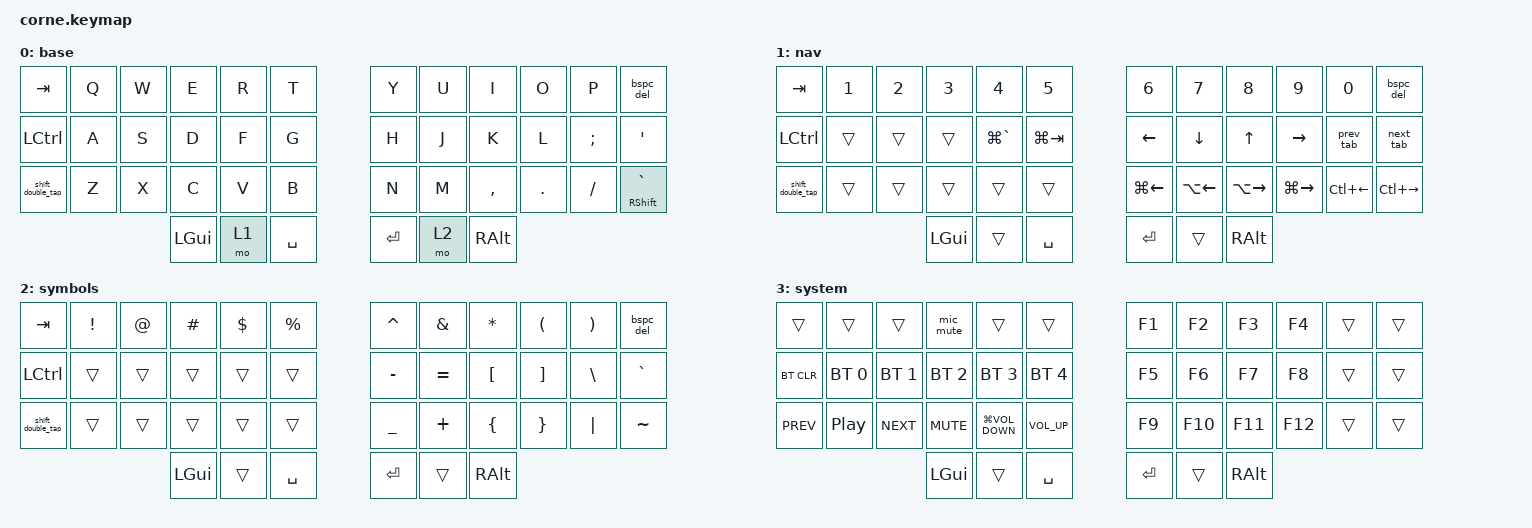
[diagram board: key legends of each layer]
/*
 * Copyright (c) 2020 The ZMK Contributors
 *
 * SPDX-License-Identifier: MIT
 */

#include <behaviors.dtsi>
#include <dt-bindings/zmk/bt.h>
#include <dt-bindings/zmk/keys.h>

/ {
    macros {
        next_tab: next_tab {
            compatible = "zmk,behavior-macro";
            #binding-cells = <0>;
            bindings =
                <&macro_press>,
                <&kp LEFT_GUI &kp LEFT_SHIFT>,
                <&macro_tap>,
                <&kp RIGHT_BRACKET>,
                <&macro_release>,
                <&kp LEFT_GUI &kp LEFT_SHIFT>;

            label = "NEXT_TAB";
        };

        prev_tab: prev_tab {
            compatible = "zmk,behavior-macro";
            #binding-cells = <0>;
            bindings =
                <&macro_press>,
                <&kp LEFT_GUI &kp LEFT_SHIFT>,
                <&macro_tap>,
                <&kp LEFT_BRACKET>,
                <&macro_release>,
                <&kp LEFT_GUI &kp LEFT_SHIFT>;

            label = "PREV_TAB";
        };

        mic_mute: mic_mute {
            compatible = "zmk,behavior-macro";
            #binding-cells = <0>;
            bindings =
                <&macro_press>,
                <&kp LGUI &kp LSHIFT>,
                <&macro_tap>,
                <&kp M>,
                <&macro_tap>,
                <&kp SPACE>,
                <&macro_release>,
                <&kp LEFT_COMMAND &kp LSHIFT>;

            label = "MIC_MUTE";
        };
    };

    combos { compatible = "zmk,combos"; };

    keymap {
        compatible = "zmk,keymap";

        default_layer {
            display-name = "base";

            // -----------------------------------------------------------------------------------------
            // |  TAB |  Q  |  W  |  E  |  R  |  T  |   |  Y  |  U   |  I  |  O  |  P  | BSPC |
            // | CTRL |  A  |  S  |  D  |  F  |  G  |   |  H  |  J   |  K  |  L  |  ;  |  '   |
            // | SHFT |  Z  |  X  |  C  |  V  |  B  |   |  N  |  M   |  ,  |  .  |  /  | ESC  |
            //                    | GUI | LWR | SPC |   | ENT | RSE  | ALT |

            bindings = <
&kp TAB            &kp Q  &kp W  &kp E     &kp R  &kp T        &kp Y    &kp U  &kp I      &kp O    &kp P     &bspc_del
&kp LCTRL          &kp A  &kp S  &kp D     &kp F  &kp G        &kp H    &kp J  &kp K      &kp L    &kp SEMI  &kp SQT
&shift_double_tap  &kp Z  &kp X  &kp C     &kp V  &kp B        &kp N    &kp M  &kp COMMA  &kp DOT  &kp FSLH  &hold_else_gresc RIGHT_SHIFT GRAVE
                                 &kp LGUI  &mo 1  &kp SPACE    &kp RET  &mo 2  &kp RALT
            >;
        };

        lower_layer {
            display-name = "nav";

            // -----------------------------------------------------------------------------------------
            // |  TAB |  1  |  2  |  3  |  4  |  5  |   |  6  |  7  |  8  |  9  |  0  | BSPC |
            // | BTCLR| BT1 | BT2 | BT3 | BT4 | BT5 |   | LFT | DWN |  UP | RGT |     |      |
            // | C_PREV | C_PLAY_PAUSE | C_NEXT | C_VOL_DN | C_VOL_UP | C_MUTE |   |     |     |     |     |     |      |
            //                    | GUI |     | SPC |   | ENT |     | ALT |

            bindings = <
&kp TAB            &kp N1  &kp N2  &kp N3    &kp N4         &kp N5         &kp N6              &kp N7              &kp N8               &kp N9               &kp N0              &bspc_del
&kp LCTRL          &trans  &trans  &trans    &kp LG(GRAVE)  &kp LG(TAB)    &kp LEFT            &kp DOWN            &kp UP               &kp RIGHT            &prev_tab           &next_tab
&shift_double_tap  &trans  &trans  &trans    &trans         &trans         &kp LG(LEFT_ARROW)  &kp LA(LEFT_ARROW)  &kp LA(RIGHT_ARROW)  &kp LG(RIGHT_ARROW)  &kp LC(LEFT_ARROW)  &kp LC(RIGHT_ARROW)
                                   &kp LGUI  &trans         &kp SPACE      &kp RET             &trans              &kp RALT
            >;
        };

        raise_layer {
            display-name = "symbols";

            // -----------------------------------------------------------------------------------------
            // |  TAB |  !  |  @  |  #  |  $  |  %  |   |  ^  |  &  |  *  |  (  |  )  | BSPC |
            // | CTRL |     |     |     |     |     |   |  -  |  =  |  [  |  ]  |  \  |  `   |
            // | SHFT |     |     |     |     |     |   |  _  |  +  |  {  |  }  | "|" |  ~   |
            //                    | GUI |     | SPC |   | ENT |     | ALT |

            bindings = <
&kp TAB            &kp EXCL  &kp AT  &kp HASH  &kp DLLR  &kp PRCNT    &kp CARET  &kp AMPS   &kp ASTRK  &kp LPAR  &kp RPAR  &bspc_del
&kp LCTRL          &trans    &trans  &trans    &trans    &trans       &kp MINUS  &kp EQUAL  &kp LBKT   &kp RBKT  &kp BSLH  &kp GRAVE
&shift_double_tap  &trans    &trans  &trans    &trans    &trans       &kp UNDER  &kp PLUS   &kp LBRC   &kp RBRC  &kp PIPE  &kp TILDE
                                     &kp LGUI  &trans    &kp SPACE    &kp RET    &trans     &kp RALT
            >;
        };

        system_layer {
            display-name = "system";
            bindings = <
&trans      &trans            &trans        &mic_mute     &trans                 &trans             &kp F1   &kp F2   &kp F3    &kp F4   &trans  &trans
&bt BT_CLR  &bt BT_SEL 0      &bt BT_SEL 1  &bt BT_SEL 2  &bt BT_SEL 3           &bt BT_SEL 4       &kp F5   &kp F6   &kp F7    &kp F8   &trans  &trans
&kp C_PREV  &kp C_PLAY_PAUSE  &kp C_NEXT    &kp C_MUTE    &kp LG(C_VOLUME_DOWN)  &kp C_VOLUME_UP    &kp F9   &kp F10  &kp F11   &kp F12  &trans  &trans
                                            &kp LGUI      &trans                 &kp SPACE          &kp RET  &trans   &kp RALT
            >;
        };
    };

    behaviors {
        bspc_del: backspace_delete {
            compatible = "zmk,behavior-mod-morph";
            #binding-cells = <0>;
            bindings = <&kp BACKSPACE>, <&kp DELETE>;

            mods = <(MOD_LSFT|MOD_LCTL)>;
        };

        caps_word: caps_word {
            compatible = "zmk,behavior-caps-word";
            label = "CAPS_WORD";
            #binding-cells = <0>;
            continue-list = <UNDERSCORE BACKSPACE DELETE>;
            mods = <(MOD_LSFT)>;
        };

        shift_double_tap: shift_double_tap {
            compatible = "zmk,behavior-tap-dance";
            label = "SHIFT_DOUBLE_TAP";
            #binding-cells = <0>;
            bindings = <&kp LSHIFT>, <&caps_word>;
        };

        grave_escape: grave_escape {
            compatible = "zmk,behavior-mod-morph";
            label = "GRAVE_ESCAPE";
            bindings = <&kp ESCAPE>, <&kp GRAVE>;

            #binding-cells = <0>;
            mods = <(MOD_LCTL)>;
            keep-mods = <(MOD_LCTL)>;
        };

        hold_else_gresc: hold_else_gresc {
            compatible = "zmk,behavior-hold-tap";
            label = "HOLD_ELSE_GRESC";
            bindings = <&kp>, <&grave_escape>;

            #binding-cells = <2>;
            tapping-term-ms = <200>;
            retro-tap;
        };
    };

    conditional_layers {
        compatible = "zmk,conditional-layers";

        tri_layer {
            if-layers = <1 2>;
            then-layer = <3>;
        };
    };
};
